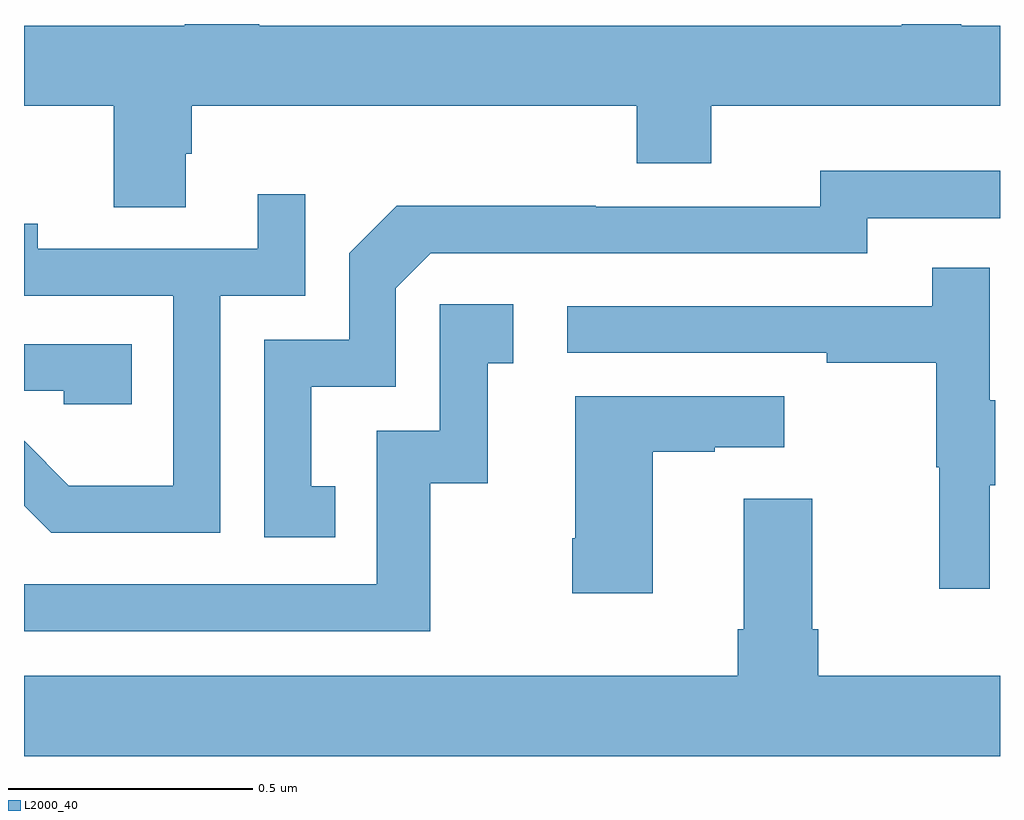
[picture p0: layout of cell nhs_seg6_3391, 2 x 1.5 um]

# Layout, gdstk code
import gdstk
lib = gdstk.Library(unit=1e-6, precision=1e-09)
def P(c, l, *ps):  # polygons
    for p in ps: c.add(gdstk.Polygon(p, *l))
L2000_40 = (2000, 40)

nhs_seg6_3391 = lib.new_cell('nhs_seg6_3391')
P(nhs_seg6_3391, L2000_40, [(156.331,951.234),(156.344,951.234),(156.344,951.332),(157.256,951.332),(157.256,951.215),(157.408,951.215),(157.408,951.332),(158,951.332),(158,951.496),(157.921,951.496),(157.921,951.5),(157.799,951.5),(157.799,951.496),(156.482,951.496),(156.482,951.5),(156.329,951.5),(156.329,951.496),(156,951.496),(156,951.332),(156.184,951.332),(156.184,951.124),(156.331,951.124)],
  [(156.638,950.553),(156.589,950.553),(156.589,950.757),(156.762,950.757),(156.762,950.958),(156.834,951.03),(157.728,951.03),(157.728,951.102),(158,951.102),(158,951.199),(157.632,951.199),(157.632,951.126),(157.172,951.126),(157.172,951.128),(156.764,951.128),(156.666,951.03),(156.666,950.853),(156.492,950.853),(156.492,950.448),(156.638,950.448)],
  [(156.402,950.943),(156.576,950.943),(156.576,951.151),(156.479,951.151),(156.479,951.039),(156.028,951.039),(156.028,951.091),(156,951.091),(156,950.943),(156.306,950.943),(156.306,950.554),(156.092,950.554),(156,950.646),(156,950.513),(156.056,950.457),(156.402,950.457)],
  [(157.979,950.555),(157.99,950.555),(157.99,950.729),(157.979,950.729),(157.979,951.001),(157.861,951.001),(157.861,950.922),(157.113,950.922),(157.113,950.826),(157.645,950.826),(157.645,950.806),(157.869,950.806),(157.869,950.592),(157.876,950.592),(157.876,950.343),(157.979,950.343)],
  [(156.832,950.559),(156.95,950.559),(156.95,950.805),(157.003,950.805),(157.003,950.926),(156.852,950.926),(156.852,950.667),(156.723,950.667),(156.723,950.352),(156,950.352),(156,950.256),(156.832,950.256)],
  [(156.221,950.844),(156,950.844),(156,950.748),(156.081,950.748),(156.081,950.721),(156.221,950.721)],
  [(157.288,950.623),(157.415,950.623),(157.415,950.633),(157.558,950.633),(157.558,950.737),(157.13,950.737),(157.13,950.446),(157.123,950.446),(157.123,950.334),(157.288,950.334)],
  [(158,950.164),(157.628,950.164),(157.628,950.26),(157.615,950.26),(157.615,950.527),(157.475,950.527),(157.475,950.26),(157.463,950.26),(157.463,950.164),(156,950.164),(156,950),(158,950)])

lib.write_gds('nhs_seg6_3391.gds')
